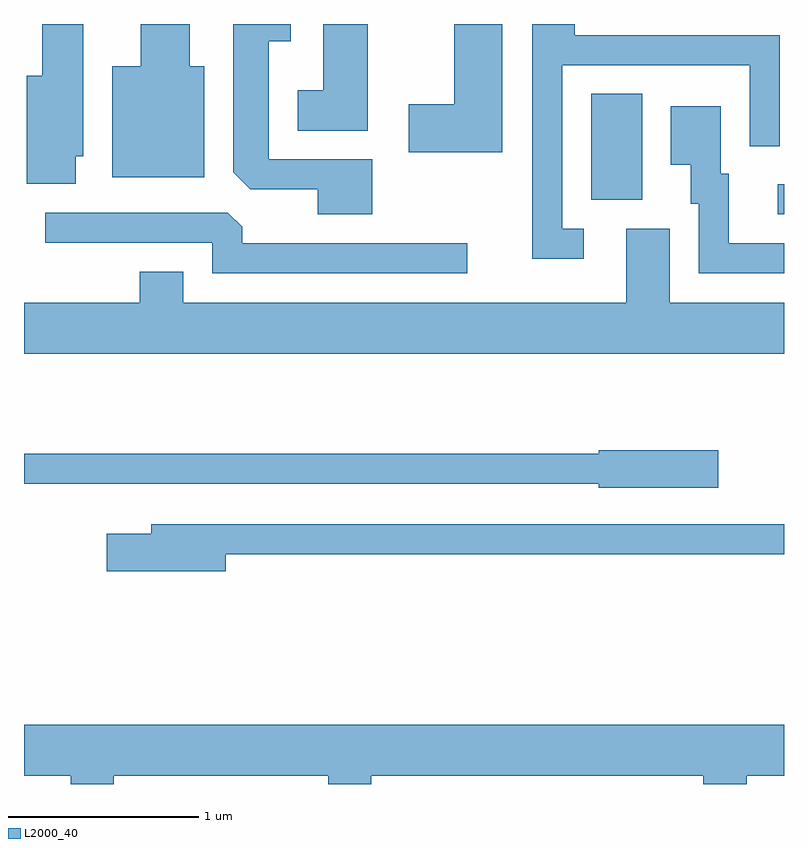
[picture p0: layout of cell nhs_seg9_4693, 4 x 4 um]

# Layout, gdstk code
import gdstk
lib = gdstk.Library(unit=1e-6, precision=1e-09)
def R(c, l, rs):  # rectangles x0, y0, x1, y1
    for r in rs: c.add(gdstk.rectangle(r[:2], r[2:], *l))
def P(c, l, *ps):  # polygons
    for p in ps: c.add(gdstk.Polygon(p, *l))
L2000_40 = (2000, 40)

nhs_seg9_4693 = lib.new_cell('nhs_seg9_4693')
R(nhs_seg9_4693, L2000_40, [(327.578,2001.431,327.611,2001.589), (326.596,2001.506,326.864,2002.064)])
P(nhs_seg9_4693, L2000_40, [(324.559,2002.209),(324.484,2002.209),(324.484,2002.432),(324.226,2002.432),(324.226,2002.209),(324.076,2002.209),(324.076,2001.626),(324.559,2001.626)],
  [(325.419,2002.432),(325.186,2002.432),(325.186,2002.084),(325.051,2002.084),(325.051,2001.871),(325.419,2001.871)],
  [(326.558,2001.354),(326.444,2001.354),(326.444,2002.216),(327.431,2002.216),(327.431,2001.788),(327.589,2001.788),(327.589,2002.374),(326.509,2002.374),(326.509,2002.432),(326.286,2002.432),(326.286,2001.196),(326.558,2001.196)],
  [(325.444,2001.719),(324.899,2001.719),(324.899,2002.341),(325.014,2002.341),(325.014,2002.432),(324.711,2002.432),(324.711,2001.652),(324.802,2001.561),(325.156,2001.561),(325.156,2001.431),(325.444,2001.431)],
  [(326.129,2002.432),(325.876,2002.432),(325.876,2002.009),(325.636,2002.009),(325.636,2001.756),(326.129,2001.756)],
  [(323.884,2001.736),(323.924,2001.736),(323.924,2002.432),(323.706,2002.432),(323.706,2002.159),(323.626,2002.159),(323.626,2001.591),(323.884,2001.591)],
  [(327.611,2001.279),(327.319,2001.279),(327.319,2001.644),(327.279,2001.644),(327.279,2001.999),(327.016,2001.999),(327.016,2001.691),(327.121,2001.691),(327.121,2001.486),(327.161,2001.486),(327.161,2001.121),(327.611,2001.121)],
  [(325.943,2001.279),(324.759,2001.279),(324.759,2001.364),(324.684,2001.439),(323.723,2001.439),(323.723,2001.281),(324.601,2001.281),(324.601,2001.121),(325.943,2001.121)],
  [(327.611,2000.964),(327.009,2000.964),(327.009,2001.354),(326.781,2001.354),(326.781,2000.964),(324.449,2000.964),(324.449,2001.129),(324.221,2001.129),(324.221,2000.964),(323.611,2000.964),(323.611,2000.696),(327.611,2000.696)],
  [(327.264,2000.189),(326.636,2000.189),(326.636,2000.169),(323.611,2000.169),(323.611,2000.011),(326.636,2000.011),(326.636,1999.991),(327.264,1999.991)],
  [(324.674,1999.641),(327.611,1999.641),(327.611,1999.799),(324.281,1999.799),(324.281,1999.749),(324.046,1999.749),(324.046,1999.551),(324.674,1999.551)],
  [(324.084,1998.476),(325.211,1998.476),(325.211,1998.432),(325.439,1998.432),(325.439,1998.476),(327.186,1998.476),(327.186,1998.432),(327.414,1998.432),(327.414,1998.476),(327.611,1998.476),(327.611,1998.744),(323.611,1998.744),(323.611,1998.476),(323.856,1998.476),(323.856,1998.432),(324.084,1998.432)])

lib.write_gds('nhs_seg9_4693.gds')
